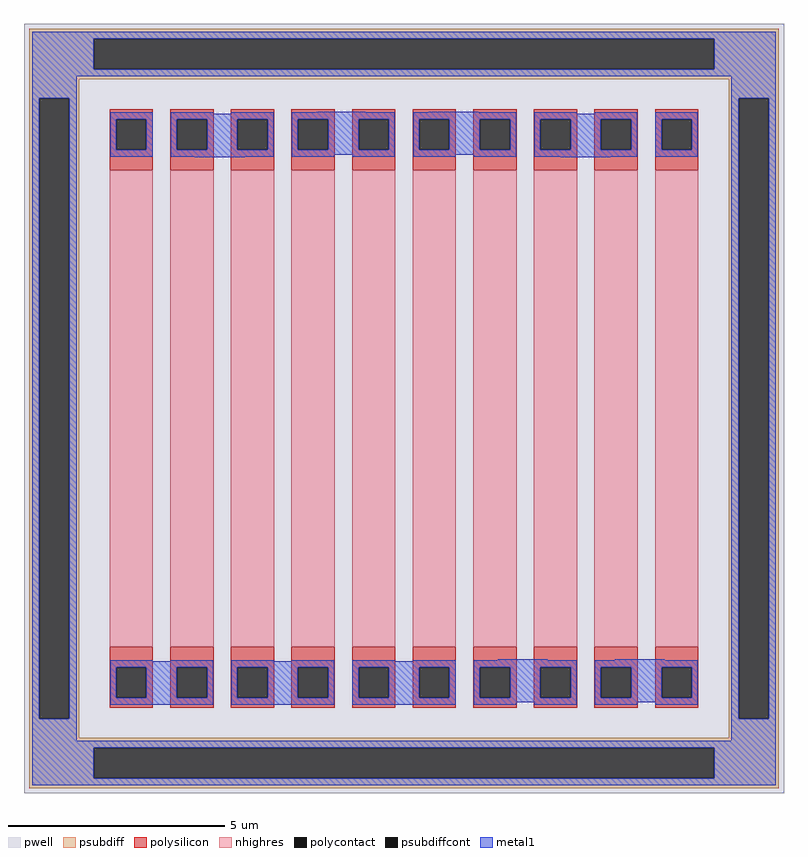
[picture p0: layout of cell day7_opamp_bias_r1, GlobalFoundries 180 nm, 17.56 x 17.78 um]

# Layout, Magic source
magic
tech gf180mcuD
magscale 1 10
<< pwell >>
rect 1590 -5970 5102 -2414
<< psubdiff >>
rect 1614 -2484 5078 -2438
rect 1614 -2624 1913 -2484
rect 4779 -2624 5078 -2484
rect 1614 -2670 5078 -2624
rect 1614 -2759 1846 -2670
rect 1614 -5625 1660 -2759
rect 1800 -5625 1846 -2759
rect 4846 -2759 5078 -2670
rect 1614 -5714 1846 -5625
rect 4846 -5625 4892 -2759
rect 5032 -5625 5078 -2759
rect 4846 -5714 5078 -5625
rect 1614 -5760 5078 -5714
rect 1614 -5900 1913 -5760
rect 4779 -5900 5078 -5760
rect 1614 -5946 5078 -5900
<< psubdiffcont >>
rect 1913 -2624 4779 -2484
rect 1660 -5625 1800 -2759
rect 4892 -5625 5032 -2759
rect 1913 -5900 4779 -5760
<< polysilicon >>
rect 1986 -2856 2186 -2810
rect 1986 -2996 2016 -2856
rect 2156 -2996 2186 -2856
rect 1986 -3092 2186 -2996
rect 1986 -5388 2186 -5292
rect 1986 -5528 2016 -5388
rect 2156 -5528 2186 -5388
rect 1986 -5574 2186 -5528
rect 2266 -2856 2466 -2810
rect 2266 -2996 2296 -2856
rect 2436 -2996 2466 -2856
rect 2266 -3092 2466 -2996
rect 2266 -5388 2466 -5292
rect 2266 -5528 2296 -5388
rect 2436 -5528 2466 -5388
rect 2266 -5574 2466 -5528
rect 2546 -2856 2746 -2810
rect 2546 -2996 2576 -2856
rect 2716 -2996 2746 -2856
rect 2546 -3092 2746 -2996
rect 2546 -5388 2746 -5292
rect 2546 -5528 2576 -5388
rect 2716 -5528 2746 -5388
rect 2546 -5574 2746 -5528
rect 2826 -2856 3026 -2810
rect 2826 -2996 2856 -2856
rect 2996 -2996 3026 -2856
rect 2826 -3092 3026 -2996
rect 2826 -5388 3026 -5292
rect 2826 -5528 2856 -5388
rect 2996 -5528 3026 -5388
rect 2826 -5574 3026 -5528
rect 3106 -2856 3306 -2810
rect 3106 -2996 3136 -2856
rect 3276 -2996 3306 -2856
rect 3106 -3092 3306 -2996
rect 3106 -5388 3306 -5292
rect 3106 -5528 3136 -5388
rect 3276 -5528 3306 -5388
rect 3106 -5574 3306 -5528
rect 3386 -2856 3586 -2810
rect 3386 -2996 3416 -2856
rect 3556 -2996 3586 -2856
rect 3386 -3092 3586 -2996
rect 3386 -5388 3586 -5292
rect 3386 -5528 3416 -5388
rect 3556 -5528 3586 -5388
rect 3386 -5574 3586 -5528
rect 3666 -2856 3866 -2810
rect 3666 -2996 3696 -2856
rect 3836 -2996 3866 -2856
rect 3666 -3092 3866 -2996
rect 3666 -5388 3866 -5292
rect 3666 -5528 3696 -5388
rect 3836 -5528 3866 -5388
rect 3666 -5574 3866 -5528
rect 3946 -2856 4146 -2810
rect 3946 -2996 3976 -2856
rect 4116 -2996 4146 -2856
rect 3946 -3092 4146 -2996
rect 3946 -5388 4146 -5292
rect 3946 -5528 3976 -5388
rect 4116 -5528 4146 -5388
rect 3946 -5574 4146 -5528
rect 4226 -2856 4426 -2810
rect 4226 -2996 4256 -2856
rect 4396 -2996 4426 -2856
rect 4226 -3092 4426 -2996
rect 4226 -5388 4426 -5292
rect 4226 -5528 4256 -5388
rect 4396 -5528 4426 -5388
rect 4226 -5574 4426 -5528
rect 4506 -2856 4706 -2810
rect 4506 -2996 4536 -2856
rect 4676 -2996 4706 -2856
rect 4506 -3092 4706 -2996
rect 4506 -5388 4706 -5292
rect 4506 -5528 4536 -5388
rect 4676 -5528 4706 -5388
rect 4506 -5574 4706 -5528
<< polycontact >>
rect 2016 -2996 2156 -2856
rect 2016 -5528 2156 -5388
rect 2296 -2996 2436 -2856
rect 2296 -5528 2436 -5388
rect 2576 -2996 2716 -2856
rect 2576 -5528 2716 -5388
rect 2856 -2996 2996 -2856
rect 2856 -5528 2996 -5388
rect 3136 -2996 3276 -2856
rect 3136 -5528 3276 -5388
rect 3416 -2996 3556 -2856
rect 3416 -5528 3556 -5388
rect 3696 -2996 3836 -2856
rect 3696 -5528 3836 -5388
rect 3976 -2996 4116 -2856
rect 3976 -5528 4116 -5388
rect 4256 -2996 4396 -2856
rect 4256 -5528 4396 -5388
rect 4536 -2996 4676 -2856
rect 4536 -5528 4676 -5388
<< nhighres >>
rect 1986 -5292 2186 -3092
rect 2266 -5292 2466 -3092
rect 2546 -5292 2746 -3092
rect 2826 -5292 3026 -3092
rect 3106 -5292 3306 -3092
rect 3386 -5292 3586 -3092
rect 3666 -5292 3866 -3092
rect 3946 -5292 4146 -3092
rect 4226 -5292 4426 -3092
rect 4506 -5292 4706 -3092
<< metal1 >>
rect 1627 -2484 5065 -2451
rect 1627 -2624 1913 -2484
rect 4779 -2624 5065 -2484
rect 1627 -2657 5065 -2624
rect 1627 -2759 1833 -2657
rect 1627 -5625 1660 -2759
rect 1800 -5625 1833 -2759
rect 4859 -2759 5065 -2657
rect 2940 -2823 3170 -2820
rect 3460 -2823 3690 -2820
rect 1988 -2856 2184 -2823
rect 1988 -2996 2016 -2856
rect 2156 -2996 2184 -2856
rect 1988 -3029 2184 -2996
rect 2268 -2830 2464 -2823
rect 2548 -2830 2744 -2823
rect 2268 -2856 2744 -2830
rect 2268 -2996 2296 -2856
rect 2436 -2996 2576 -2856
rect 2716 -2996 2744 -2856
rect 2268 -3029 2744 -2996
rect 2828 -2856 3304 -2823
rect 2828 -2996 2856 -2856
rect 2996 -2996 3136 -2856
rect 3276 -2996 3304 -2856
rect 2828 -3020 3304 -2996
rect 2828 -3029 3024 -3020
rect 3108 -3029 3304 -3020
rect 3388 -2856 3864 -2823
rect 3388 -2996 3416 -2856
rect 3556 -2996 3696 -2856
rect 3836 -2996 3864 -2856
rect 3388 -3020 3864 -2996
rect 3388 -3029 3584 -3020
rect 3668 -3029 3864 -3020
rect 3948 -2830 4144 -2823
rect 4228 -2830 4424 -2823
rect 3948 -2856 4424 -2830
rect 3948 -2996 3976 -2856
rect 4116 -2996 4256 -2856
rect 4396 -2996 4424 -2856
rect 3948 -3029 4424 -2996
rect 4508 -2856 4704 -2823
rect 4508 -2996 4536 -2856
rect 4676 -2996 4704 -2856
rect 4508 -3029 4704 -2996
rect 2380 -3030 2610 -3029
rect 4070 -3030 4300 -3029
rect 3780 -5355 4010 -5350
rect 4320 -5355 4550 -5350
rect 1988 -5360 2184 -5355
rect 2268 -5360 2464 -5355
rect 1988 -5388 2464 -5360
rect 1988 -5528 2016 -5388
rect 2156 -5528 2296 -5388
rect 2436 -5528 2464 -5388
rect 1988 -5560 2464 -5528
rect 1988 -5561 2184 -5560
rect 2268 -5561 2464 -5560
rect 2548 -5360 2744 -5355
rect 2828 -5360 3024 -5355
rect 2548 -5388 3024 -5360
rect 2548 -5528 2576 -5388
rect 2716 -5528 2856 -5388
rect 2996 -5528 3024 -5388
rect 2548 -5560 3024 -5528
rect 2548 -5561 2744 -5560
rect 2828 -5561 3024 -5560
rect 3108 -5360 3304 -5355
rect 3388 -5360 3584 -5355
rect 3108 -5388 3584 -5360
rect 3108 -5528 3136 -5388
rect 3276 -5528 3416 -5388
rect 3556 -5528 3584 -5388
rect 3108 -5560 3584 -5528
rect 3108 -5561 3304 -5560
rect 3388 -5561 3584 -5560
rect 3668 -5388 4144 -5355
rect 3668 -5528 3696 -5388
rect 3836 -5528 3976 -5388
rect 4116 -5528 4144 -5388
rect 3668 -5550 4144 -5528
rect 3668 -5561 3864 -5550
rect 3948 -5561 4144 -5550
rect 4228 -5388 4704 -5355
rect 4228 -5528 4256 -5388
rect 4396 -5528 4536 -5388
rect 4676 -5528 4704 -5388
rect 4228 -5550 4704 -5528
rect 4228 -5561 4424 -5550
rect 4508 -5561 4704 -5550
rect 1627 -5727 1833 -5625
rect 4859 -5625 4892 -2759
rect 5032 -5625 5065 -2759
rect 4859 -5727 5065 -5625
rect 1627 -5760 5065 -5727
rect 1627 -5900 1913 -5760
rect 4779 -5900 5065 -5760
rect 1627 -5933 5065 -5900
<< end >>
